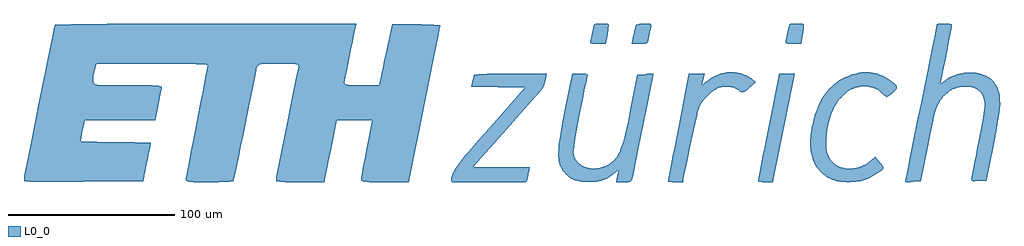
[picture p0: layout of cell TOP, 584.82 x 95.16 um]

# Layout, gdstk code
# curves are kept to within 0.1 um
import gdstk
lib = gdstk.Library(unit=1e-6, precision=1e-09)
def P(c, l, *ps):  # polygons
    for p in ps: c.add(gdstk.Polygon(p, *l))
L0_0 = (0, 0)

top = lib.new_cell('TOP')
P(top, L0_0, [(201.764,94),(196.735,94.055),(193.831,94.342),(192.388,94.944),(192.074,95.39),(192,96.021),(194.942,112.018),(204.929,162.83),(204.993,163.815),(204.753,164.253),(204.359,164.426),(193.624,164.921),(138.166,165),(136.895,159.074),(136.341,154.567),(136.415,153.976),(136.738,153.339),(137.172,152.931),(137.81,152.628),(138.919,152.302),(140.636,152.074),(173.648,151.839),(176.466,151.451),(177.231,151.189),(177.588,150.807),(177.636,150.286),(173.726,131),(131.276,131),(129.914,124.219),(129.01,119.114),(129.023,118.707),(129.297,118.496),(138.557,118.11),(161.434,117.901),(170.829,117.506),(170.955,117.273),(170.9,116.785),(166.413,94.5),(107.06,94.141),(95.687,94.545),(95.198,94.769),(95,95.232),(95.168,97.257),(99.601,119.486),(112.802,185.564),(113.482,187.791),(113.866,188.268),(114.489,188.471),(144.911,188.921),(221.23,189),(293.901,188.837),(293.985,188.537),(288.579,162.327),(287,153.449),(287.385,152.783),(288.845,152.308),(291.137,152.069),(294.641,152),(307.858,152),(315.511,188.5),(338.372,188.392),(344.009,187.948),(344.298,187.778),(344.307,187.1),(325.67,94),(301.802,94.054),(298.611,94.4),(297.544,94.844),(297.156,95.242),(297,95.775),(297.074,96.891),(298.514,104.907),(303.723,131),(282.285,131),(274.834,94),(251.823,94.068),(248.452,94.311),(246.534,94.673),(246.209,94.872),(246,95.356),(246.124,96.856),(258.476,158.277),(259.56,163.044),(259.266,164.15),(258.441,164.706),(256.281,164.959),(251.697,165),(238.085,164.888),(235.919,164.458),(235.104,163.869),(234.615,163.11),(223.912,110.436),(220.799,95.766),(220.454,94.925),(219.878,94.571),(213.704,94.126)],
  [(437.405,177),(435.735,177.081),(434.93,177.276),(434.459,177.616),(434.301,178.133),(435.989,186.047),(436.699,188.288),(437.326,188.756),(439.173,188.935),(444.057,188.982),(444.856,188.746),(445.319,188.19),(445.143,185.589),(443.666,177)],
  [(459.242,177),(461.143,186.237),(461.546,187.788),(461.761,188.114),(462.945,188.626),(465.122,188.959),(469.459,188.943),(470.573,188.556),(470.813,188.059),(470.707,186.875),(469.078,178.986),(468.531,177.723),(467.95,177.305),(467.143,177.085)],
  [(554.405,177),(552.735,177.081),(551.93,177.276),(551.459,177.616),(551.301,178.133),(552.989,186.047),(553.699,188.288),(554.326,188.756),(556.173,188.935),(561.057,188.982),(561.856,188.746),(562.319,188.19),(562.143,185.589),(560.666,177)],
  [(625.143,94.078),(623.118,94.119),(623.02,94.504),(642.007,188.612),(644.047,188.941),(646.932,189),(648.591,188.913),(650.491,188.568),(650.98,188.276),(650.913,187.114),(645.089,157.768),(643.972,153.041),(649.216,156.503),(651.68,157.691),(654.301,158.593),(657.104,159.24),(661.367,159.672),(664.127,159.592),(666.864,159.224),(668.798,158.758),(671.211,157.799),(673.437,156.453),(674.79,155.342),(676.551,153.396),(677.522,151.94),(678.79,149.218),(679.36,147.246),(679.68,145.217),(679.816,140.7),(679.41,135.376),(677.657,124.491),(671.5,94.5),(664.392,94.606),(663.115,95.04),(662.806,95.399),(662.684,95.876),(669.745,132.575),(670.564,139.07),(670.578,141.307),(670.342,143.137),(669.76,145.053),(668.798,146.988),(667.919,148.196),(666.569,149.402),(664.892,150.318),(663.517,150.761),(660.708,151.178),(658.517,151.231),(655.997,151.044),(653.835,150.624),(651.979,149.933),(650.533,149.152),(648.669,147.809),(645.956,145.406),(644.289,143.434),(643.295,141.854),(641.887,138.712),(640.237,132.923),(632.417,94.5)],
  [(489.571,93.871),(481.411,94.259),(481.047,94.484),(480.954,94.974),(493.46,159),(502.789,159),(501.167,151.809),(504.318,154.625),(507.093,156.518),(510.914,158.36),(513.396,159.19),(515.25,159.602),(518.234,159.872),(521.97,159.625),(525.539,158.791),(527.654,157.979),(529.21,157.157),(530.656,156.154),(533.486,153.786),(526.676,148.238),(525.78,147.865),(525,147.915),(521.849,149.982),(519.789,150.764),(518.272,151.11),(515.101,151.297),(512.819,150.961),(509.777,149.809),(506.718,147.769),(503.137,144.39),(500.863,141.388),(499.698,139.089),(498.481,135.26),(490.244,97.037),(489.992,94.232)],
  [(589.765,94.058),(586.098,94.143),(582.951,94.483),(580.431,95.094),(577.681,96.259),(575.739,97.406),(573.065,99.523),(570.771,102.034),(569.487,103.891),(568.003,106.845),(567.25,109.155),(566.56,112.209),(566.171,115.195),(566.095,118.241),(566.32,121.508),(567.166,126.841),(567.887,130.241),(568.922,133.997),(570.181,137.684),(571.303,140.417),(573.14,144),(574.206,145.708),(576.574,148.874),(579.157,151.569),(582.056,153.923),(585.298,155.956),(588.776,157.625),(592.11,158.794),(594.595,159.406),(598.208,159.862),(600.645,159.85),(603.474,159.538),(606.901,158.795),(609.583,157.768),(612.01,156.411),(614.777,154.513),(617.346,152.31),(617.869,151.419),(617.963,150.329),(617.285,149.289),(616.356,148.294),(611.815,144.803),(608.76,147.73),(607.448,148.782),(605.273,150.055),(602.908,150.927),(600.094,151.423),(597.168,151.41),(594.182,150.846),(591.911,150.049),(589.754,148.978),(587.747,147.65),(585.596,145.806),(583.584,143.613),(581.853,141.193),(579.925,137.694),(578.7,134.906),(577.738,132.004),(576.442,125.91),(575.888,122.062),(575.589,118.286),(575.616,115.594),(576.128,112.32),(576.909,110.01),(578.05,107.885),(580.05,105.488),(582.232,103.872),(584.884,102.763),(586.833,102.32),(588.82,102.109),(591.909,102.238),(595.031,102.892),(597.034,103.609),(598.949,104.542),(601.601,106.318),(604.967,109.15),(608.827,104.67),(609.941,102.98),(609.937,102.421),(609.727,101.92),(608.602,100.953),(605.251,98.637),(600.781,96.195),(598.493,95.321),(596.187,94.707),(593.495,94.295)],
  [(384.118,93.886),(352.228,93.969),(351.486,94.248),(351.047,94.908),(351.186,97.081),(351.855,99.066),(353.469,101.983),(356.666,106.543),(359.774,110.454),(367.632,119.558),(395.09,150.5),(362.974,151.05),(364.565,157.79),(364.853,158.199),(365.311,158.401),(372.672,158.911),(408.223,159),(407.06,153.313),(406.265,151.156),(405.649,150.076),(363.91,103),(397.95,103),(396.588,95.763),(396.287,94.881),(395.748,94.291),(394.78,93.966)],
  [(449.909,94),(451.304,101.434),(447.775,98.464),(446.064,97.237),(444.249,96.2),(442.37,95.386),(439.294,94.538),(437.108,94.227),(433.985,94.097),(430.646,94.235),(427.603,94.646),(425.775,95.066),(423.707,95.861),(422.443,96.558),(420.728,97.849),(418.983,99.616),(417.464,101.516),(416.292,103.668),(415.55,106.495),(415.237,109.598),(415.308,113.506),(415.957,119.75),(417.544,129.182),(423.442,159),(431.143,158.891),(432.293,158.579),(432.645,158.283),(432.766,157.943),(428.826,139.371),(425.541,122.23),(424.279,112.906),(424.451,110.408),(425.19,108.278),(426.064,106.828),(427.181,105.556),(428.847,104.239),(430.124,103.503),(432.182,102.697),(434.63,102.225),(436.479,102.131),(438.326,102.25),(440.148,102.578),(442.178,103.194),(444.208,104.072),(446.123,105.177),(447.772,106.392),(448.901,107.464),(450.326,109.313),(451.565,111.554),(452.719,114.21),(454.85,121.048),(456.931,130.215),(462.586,158.5),(469.857,158.924),(471.994,158.801),(459.414,95.942),(458.763,94.758),(458.298,94.427),(457.495,94.158),(455.061,94)],
  [(538.935,94),(536.617,94.16),(535.171,94.463),(534.969,94.675),(534.983,95.27),(547.46,159),(556.702,159),(543.706,94)])

lib.write_gds('TOP.gds')
